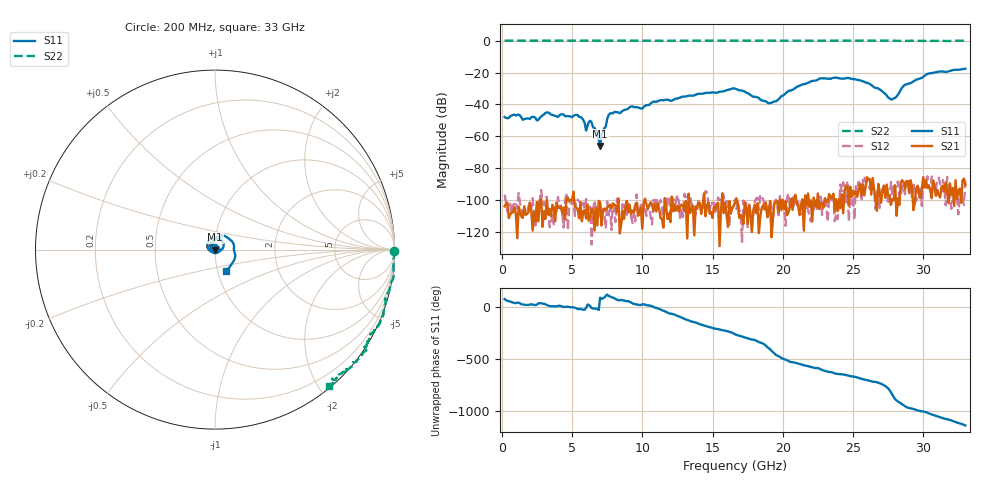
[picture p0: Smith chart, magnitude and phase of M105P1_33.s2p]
# GHZ S RI R 50
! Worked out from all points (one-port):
!   329 points, 200 MHz to 33 GHz, reference 50 ohm
!   lowest |S11| = -66.0 dB at 7 GHz (marker M1), VSWR 1.00, Z = 50 + j0.0496 ohm
!   |S11| at or under -10 dB: start of sweep to end of sweep
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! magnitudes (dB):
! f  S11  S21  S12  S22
! 200 MHz  -47.8  -103.9  -96.5  0.0
! 1.2 GHz  -46.3  -104.1  -95.5  0.0
! 1.5 GHz  -49.6  -111.0  -111.6  0.0
! 2.5 GHz  -50.1  -101.1  -102.4  0.0
! 3.3 GHz  -45.0  -108.9  -106.0  0.0
! 5.7 GHz  -48.5  -113.2  -104.4  0.0
! 6 GHz  -56.3  -111.4  -99.3  0.0
! 6.2 GHz  -51.0  -112.9  -103.8  0.0
! 6.4 GHz  -51.5  -105.2  -127.8  0.0
! 6.8 GHz  -57.7  -115.9  -104.1  0.0
! 7 GHz  -66.0  -101.2  -102.5  0.0
! 7.1 GHz  -58.6  -115.9  -105.9  0.0
! 7.7 GHz  -45.6  -103.0  -102.9  0.0
! 11.2 GHz  -37.7  -105.4  -102.0  -0.1
! 16.6 GHz  -30.1  -101.8  -99.6  0.1
! 19 GHz  -39.3  -107.7  -102.6  -0.1
! 22.1 GHz  -25.3  -113.3  -106.3  0.0
! 25.5 GHz  -24.9  -89.8  -90.5  0.1
! 27.6 GHz  -36.2  -97.1  -100.6  0.0
! 28.7 GHz  -27.6  -93.2  -96.3  -0.2
! 30.3 GHz  -20.8  -92.4  -85.0  -0.2
! 33 GHz  -17.6  -90.3  -88.2  -0.1
